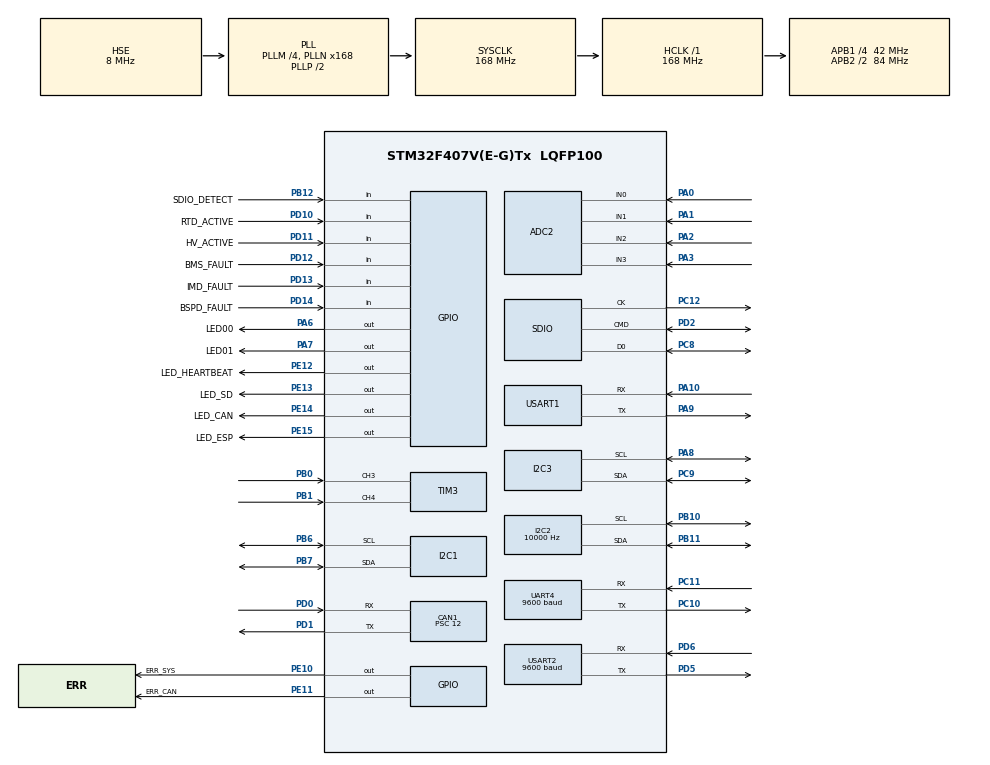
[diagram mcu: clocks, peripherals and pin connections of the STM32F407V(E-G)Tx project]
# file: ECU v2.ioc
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ADC1.Channel-0\#ChannelRegularConversion=ADC_CHANNEL_TEMPSENSOR
ADC1.ContinuousConvMode=DISABLE
ADC1.InjNumberOfConversion=0
ADC1.NbrOfConversionFlag=1
ADC1.Rank-0\#ChannelRegularConversion=1
ADC1.SamplingTime-0\#ChannelRegularConversion=ADC_SAMPLETIME_28CYCLES
ADC1.master=1
ADC2.Channel-10\#ChannelRegularConversion=ADC_CHANNEL_1
ADC2.Channel-11\#ChannelRegularConversion=ADC_CHANNEL_2
ADC2.Channel-12\#ChannelRegularConversion=ADC_CHANNEL_3
ADC2.Channel-9\#ChannelRegularConversion=ADC_CHANNEL_0
ADC2.DiscontinuousConvMode=ENABLE
ADC2.NbrOfConversion=4
ADC2.NbrOfConversionFlag=1
ADC2.Rank-10\#ChannelRegularConversion=2
ADC2.Rank-11\#ChannelRegularConversion=3
ADC2.Rank-12\#ChannelRegularConversion=4
ADC2.Rank-9\#ChannelRegularConversion=1
ADC2.SamplingTime-10\#ChannelRegularConversion=ADC_SAMPLETIME_15CYCLES
ADC2.SamplingTime-11\#ChannelRegularConversion=ADC_SAMPLETIME_15CYCLES
ADC2.SamplingTime-12\#ChannelRegularConversion=ADC_SAMPLETIME_15CYCLES
ADC2.SamplingTime-9\#ChannelRegularConversion=ADC_SAMPLETIME_15CYCLES
ADC2.ScanConvMode=ENABLE
CAN1.ABOM=DISABLE
CAN1.AWUM=ENABLE
CAN1.BS1=CAN_BS1_11TQ
CAN1.BS2=CAN_BS2_2TQ
CAN1.CalculateBaudRate=250000
CAN1.CalculateTimeBit=4000
CAN1.CalculateTimeQuantum=285.7142857142857
CAN1.Mode=CAN_MODE_NORMAL
CAN1.Prescaler=12
CAN1.TTCM=DISABLE
Dma.Request0=SDIO_RX
Dma.Request1=SDIO_TX
Dma.Request2=USART2_RX
Dma.Request3=TIM3_CH3
Dma.Request4=TIM3_CH4/UP
Dma.SDIO_RX.0.Direction=DMA_PERIPH_TO_MEMORY
Dma.SDIO_RX.0.FIFOMode=DMA_FIFOMODE_ENABLE
Dma.SDIO_RX.0.FIFOThreshold=DMA_FIFO_THRESHOLD_FULL
Dma.SDIO_RX.0.Instance=DMA2_Stream3
Dma.SDIO_RX.0.MemBurst=DMA_MBURST_INC4
Dma.SDIO_RX.0.MemDataAlignment=DMA_MDATAALIGN_WORD
Dma.SDIO_RX.0.MemInc=DMA_MINC_ENABLE
Dma.SDIO_RX.0.Mode=DMA_PFCTRL
Dma.SDIO_RX.0.PeriphBurst=DMA_PBURST_INC4
Dma.SDIO_RX.0.PeriphDataAlignment=DMA_PDATAALIGN_WORD
Dma.SDIO_RX.0.PeriphInc=DMA_PINC_DISABLE
Dma.SDIO_RX.0.Priority=DMA_PRIORITY_LOW
Dma.SDIO_TX.1.Direction=DMA_MEMORY_TO_PERIPH
Dma.SDIO_TX.1.FIFOMode=DMA_FIFOMODE_ENABLE
Dma.SDIO_TX.1.FIFOThreshold=DMA_FIFO_THRESHOLD_FULL
Dma.SDIO_TX.1.Instance=DMA2_Stream6
Dma.SDIO_TX.1.MemBurst=DMA_MBURST_INC4
Dma.SDIO_TX.1.MemDataAlignment=DMA_MDATAALIGN_WORD
Dma.SDIO_TX.1.MemInc=DMA_MINC_ENABLE
Dma.SDIO_TX.1.Mode=DMA_PFCTRL
Dma.SDIO_TX.1.PeriphBurst=DMA_PBURST_INC4
Dma.SDIO_TX.1.PeriphDataAlignment=DMA_PDATAALIGN_WORD
Dma.SDIO_TX.1.PeriphInc=DMA_PINC_DISABLE
Dma.SDIO_TX.1.Priority=DMA_PRIORITY_LOW
Dma.TIM3_CH3.3.Direction=DMA_PERIPH_TO_MEMORY
Dma.TIM3_CH3.3.FIFOMode=DMA_FIFOMODE_DISABLE
Dma.TIM3_CH3.3.Instance=DMA1_Stream7
Dma.TIM3_CH3.3.MemDataAlignment=DMA_MDATAALIGN_HALFWORD
Dma.TIM3_CH3.3.MemInc=DMA_MINC_ENABLE
Dma.TIM3_CH3.3.Mode=DMA_NORMAL
Dma.TIM3_CH3.3.PeriphDataAlignment=DMA_PDATAALIGN_HALFWORD
Dma.TIM3_CH3.3.PeriphInc=DMA_PINC_DISABLE
Dma.TIM3_CH3.3.Priority=DMA_PRIORITY_LOW
Dma.TIM3_CH4/UP.4.Direction=DMA_PERIPH_TO_MEMORY
Dma.TIM3_CH4/UP.4.FIFOMode=DMA_FIFOMODE_DISABLE
Dma.TIM3_CH4/UP.4.Instance=DMA1_Stream2
Dma.TIM3_CH4/UP.4.MemDataAlignment=DMA_MDATAALIGN_HALFWORD
Dma.TIM3_CH4/UP.4.MemInc=DMA_MINC_ENABLE
Dma.TIM3_CH4/UP.4.Mode=DMA_NORMAL
Dma.TIM3_CH4/UP.4.PeriphDataAlignment=DMA_PDATAALIGN_HALFWORD
Dma.TIM3_CH4/UP.4.PeriphInc=DMA_PINC_DISABLE
Dma.TIM3_CH4/UP.4.Priority=DMA_PRIORITY_LOW
Dma.USART2_RX.2.Direction=DMA_PERIPH_TO_MEMORY
Dma.USART2_RX.2.FIFOMode=DMA_FIFOMODE_DISABLE
Dma.USART2_RX.2.Instance=DMA1_Stream5
Dma.USART2_RX.2.MemDataAlignment=DMA_MDATAALIGN_BYTE
Dma.USART2_RX.2.MemInc=DMA_MINC_ENABLE
Dma.USART2_RX.2.Mode=DMA_NORMAL
Dma.USART2_RX.2.PeriphDataAlignment=DMA_PDATAALIGN_BYTE
Dma.USART2_RX.2.PeriphInc=DMA_PINC_DISABLE
Dma.USART2_RX.2.Priority=DMA_PRIORITY_LOW
FATFS.BSP.number=1
FATFS.USE_DMA_CODE_SD=1
FATFS._CODE_PAGE=850
FATFS._MAX_SS=4096
FATFS._USE_LFN=1
FATFS0.BSP.STBoard=false
FATFS0.BSP.api=Unknown
FATFS0.BSP.instance=PB12
FATFS0.BSP.ip=GPIO
FATFS0.BSP.mode=Input
FATFS0.BSP.name=Detect_SDIO
FATFS0.BSP.solution=PB12
I2C1.I2C_Mode=I2C_Fast
I2C2.ClockSpeed=10000
I2C2.I2C_Mode=I2C_Standard
I2C3.I2C_Mode=I2C_Fast
Mcu.Family=STM32F4
Mcu.Name=STM32F407V(E-G)Tx
Mcu.Package=LQFP100
NVIC.ADC_IRQn=true\:0\:0\:false\:false\:true\:true\:true\:true
NVIC.CAN1_RX0_IRQn=true\:0\:0\:false\:false\:true\:true\:true\:true
NVIC.CAN1_RX1_IRQn=true\:0\:0\:false\:false\:true\:true\:true\:true
NVIC.CAN1_SCE_IRQn=true\:0\:0\:false\:false\:true\:true\:true\:true
NVIC.CAN1_TX_IRQn=true\:0\:0\:false\:false\:true\:true\:true\:true
NVIC.DMA1_Stream2_IRQn=true\:0\:0\:false\:false\:true\:false\:true\:true
NVIC.DMA1_Stream5_IRQn=true\:0\:0\:false\:false\:true\:false\:true\:true
NVIC.DMA1_Stream7_IRQn=true\:0\:0\:false\:false\:true\:false\:true\:true
NVIC.DMA2_Stream3_IRQn=true\:0\:0\:false\:false\:true\:false\:true\:true
NVIC.DMA2_Stream6_IRQn=true\:0\:0\:false\:false\:true\:false\:true\:true
NVIC.I2C1_EV_IRQn=true\:0\:0\:false\:false\:true\:true\:true\:true
NVIC.I2C2_EV_IRQn=true\:0\:0\:false\:false\:true\:true\:true\:true
NVIC.I2C3_EV_IRQn=true\:0\:0\:false\:false\:true\:true\:true\:true
NVIC.PriorityGroup=NVIC_PRIORITYGROUP_4
NVIC.SDIO_IRQn=true\:0\:0\:false\:false\:true\:true\:true\:true
NVIC.TIM1_UP_TIM10_IRQn=true\:0\:0\:false\:false\:true\:true\:true\:true
NVIC.TIM3_IRQn=true\:0\:0\:false\:false\:true\:true\:true\:true
NVIC.UART4_IRQn=true\:0\:0\:false\:false\:true\:true\:true\:true
NVIC.USART1_IRQn=true\:0\:0\:false\:false\:true\:true\:true\:true
NVIC.USART2_IRQn=true\:0\:0\:false\:false\:true\:true\:true\:true
PA0-WKUP.Signal=ADCx_IN0
PA1.Signal=ADCx_IN1
PA10.Mode=Asynchronous
PA10.Signal=USART1_RX
PA2.Signal=ADCx_IN2
PA3.Signal=ADCx_IN3
PA6.GPIO_Label=LED00
PA6.GPIO_PuPd=GPIO_NOPULL
PA6.Signal=GPIO_Output
PA7.GPIO_Label=LED01
PA7.GPIO_PuPd=GPIO_NOPULL
PA7.Signal=GPIO_Output
PA8.GPIO_Pu=GPIO_PULLUP
PA8.Mode=I2C
PA8.Signal=I2C3_SCL
PA9.Mode=Asynchronous
PA9.Signal=USART1_TX
PB0.Signal=S_TIM3_CH3
PB1.Signal=S_TIM3_CH4
PB10.Mode=I2C
PB10.Signal=I2C2_SCL
PB11.Mode=I2C
PB11.Signal=I2C2_SDA
PB12.GPIO_Label=SDIO_DETECT
PB12.GPIO_PuPd=GPIO_PULLDOWN
PB12.Signal=GPIO_Input
PB6.GPIO_Pu=GPIO_PULLUP
PB6.Mode=I2C
PB6.Signal=I2C1_SCL
PB7.GPIO_Pu=GPIO_PULLUP
PB7.Mode=I2C
PB7.Signal=I2C1_SDA
PC10.Mode=Asynchronous
PC10.Signal=UART4_TX
PC11.Mode=Asynchronous
PC11.Signal=UART4_RX
PC12.Mode=SD_1_bit
PC12.Signal=SDIO_CK
PC14-OSC32_IN.Mode=LSE-External-Oscillator
PC14-OSC32_IN.Signal=RCC_OSC32_IN
PC15-OSC32_OUT.Mode=LSE-External-Oscillator
PC15-OSC32_OUT.Signal=RCC_OSC32_OUT
PC8.GPIO_PuPd=GPIO_PULLUP
PC8.Mode=SD_1_bit
PC8.Signal=SDIO_D0
PC9.GPIO_Pu=GPIO_PULLUP
PC9.Mode=I2C
PC9.Signal=I2C3_SDA
PD0.Mode=CAN_Activate
PD0.Signal=CAN1_RX
PD1.Mode=CAN_Activate
PD1.Signal=CAN1_TX
PD10.GPIO_Label=RTD_ACTIVE
PD10.GPIO_PuPd=GPIO_PULLDOWN
PD10.Signal=GPIO_Input
PD11.GPIO_Label=HV_ACTIVE
PD11.GPIO_PuPd=GPIO_PULLDOWN
PD11.Signal=GPIO_Input
PD12.GPIO_Label=BMS_FAULT
PD12.GPIO_PuPd=GPIO_PULLDOWN
PD12.Signal=GPIO_Input
PD13.GPIO_Label=IMD_FAULT
PD13.GPIO_PuPd=GPIO_PULLDOWN
PD13.Signal=GPIO_Input
PD14.GPIO_Label=BSPD_FAULT
PD14.GPIO_PuPd=GPIO_PULLDOWN
PD14.Signal=GPIO_Input
PD2.GPIO_PuPd=GPIO_PULLUP
PD2.Mode=SD_1_bit
PD2.Signal=SDIO_CMD
PD5.Mode=Asynchronous
PD5.Signal=USART2_TX
PD6.Mode=Asynchronous
PD6.Signal=USART2_RX
PE10.GPIO_Label=ERR_SYS
PE10.Signal=GPIO_Output
PE11.GPIO_Label=ERR_CAN
PE11.Signal=GPIO_Output
PE12.GPIO_Label=LED_HEARTBEAT
PE12.Signal=GPIO_Output
PE13.GPIO_Label=LED_SD
PE13.Signal=GPIO_Output
PE14.GPIO_Label=LED_CAN
PE14.Signal=GPIO_Output
PE15.GPIO_Label=LED_ESP
PE15.Signal=GPIO_Output
PH0-OSC_IN.Mode=HSE-External-Oscillator
PH0-OSC_IN.Signal=RCC_OSC_IN
PH1-OSC_OUT.Mode=HSE-External-Oscillator
PH1-OSC_OUT.Signal=RCC_OSC_OUT
ProjectManager.HeapSize=0x200
ProjectManager.StackSize=0x400
ProjectManager.TargetToolchain=STM32CubeIDE
RCC.48MHZClocksFreq_Value=48000000
RCC.AHBFreq_Value=168000000
RCC.APB1CLKDivider=RCC_HCLK_DIV4
RCC.APB1Freq_Value=42000000
RCC.APB1TimFreq_Value=84000000
RCC.APB2CLKDivider=RCC_HCLK_DIV2
RCC.APB2Freq_Value=84000000
RCC.APB2TimFreq_Value=168000000
RCC.CortexFreq_Value=168000000
RCC.EnbaleCSS=true
RCC.HCLKFreq_Value=168000000
RCC.HSE_VALUE=8000000
RCC.HSI_VALUE=16000000
RCC.PLLM=4
RCC.PLLN=168
RCC.PLLQ=7
RCC.PLLSourceVirtual=RCC_PLLSOURCE_HSE
RCC.RCC_RTC_Clock_Source=RCC_RTCCLKSOURCE_LSE
RCC.RCC_RTC_Clock_SourceVirtual=RCC_RTCCLKSOURCE_LSE
RCC.SYSCLKFreq_VALUE=168000000
RCC.SYSCLKSource=RCC_SYSCLKSOURCE_PLLCLK
RCC.VCOOutputFreq_Value=336000000
RTC.Date=1
RTC.Hours=0
RTC.Minutes=0
RTC.Month=RTC_MONTH_JANUARY
RTC.Seconds=0
RTC.WeekDay=RTC_WEEKDAY_SUNDAY
RTC.Year=23
SDIO.ClockDiv=12
SDIO.HardwareFlowControl=SDIO_HARDWARE_FLOW_CONTROL_ENABLE
SH.ADCx_IN0.0=ADC2_IN0,IN0
SH.ADCx_IN1.0=ADC2_IN1,IN1
SH.ADCx_IN2.0=ADC2_IN2,IN2
SH.ADCx_IN3.0=ADC2_IN3,IN3
SH.S_TIM3_CH3.0=TIM3_CH3,Input_Capture3_from_TI3
SH.S_TIM3_CH4.0=TIM3_CH4,Input_Capture4_from_TI4
TIM1.Period=20000 - 1
TIM1.Prescaler=840 - 1
TIM3.Channel-Input_Capture3_from_TI3=TIM_CHANNEL_3
TIM3.Channel-Input_Capture4_from_TI4=TIM_CHANNEL_4
UART4.BaudRate=9600
UART4.VirtualMode=Asynchronous
USART1.VirtualMode=VM_ASYNC
USART2.BaudRate=9600
USART2.VirtualMode=VM_ASYNC
VP_ADC1_TempSens_Input.Mode=IN-TempSens
VP_FATFS_VS_SDIO.Mode=SDIO
VP_RTC_VS_RTC_Activate.Mode=RTC_Enabled
VP_RTC_VS_RTC_Calendar.Mode=RTC_Calendar
VP_TIM1_VS_ClockSourceINT.Mode=Internal
VP_TIM3_VS_ClockSourceINT.Mode=Internal
board=custom

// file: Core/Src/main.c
/* USER CODE BEGIN Header */
/**
  ******************************************************************************
  * @file           : main.c
  * @brief          : Main program body
  ******************************************************************************
  * @attention
  *
  * E-Formula 2023 ECU Firmware. A-FA, Ajou University, Korea.
  *
  * Oh ByungJun (mail@luftaquila.io)
  * A-FA E-Formula Electric System Part Leader & Team Project Manager
  *
  ******************************************************************************
  */
/* USER CODE END Header */
#include "main.h"
#include "adc.h"
#include "can.h"
#include "dma.h"
#include "fatfs.h"
#include "i2c.h"
#include "rtc.h"
#include "sdio.h"
#include "tim.h"
#include "usart.h"
#include "gpio.h"

/* USER CODE BEGIN Includes */
#include "logger.h"
#include "string.h"
#include "stdlib.h"
/* USER CODE END Includes */

/* USER CODE BEGIN PD */
extern int32_t SYS_LOG(LOG_LEVEL level, LOG_SOURCE source, int32_t key);

extern inline uint32_t to_uint(uint8_t *str, char garbage);
extern inline uint32_t drop_point(uint8_t *str);
/* USER CODE END PD */

/* USER CODE BEGIN PV */
ERROR_CODE err;

// log data
FIL logfile;
LOG syslog;

// SD write buffer
ring_buffer_t LOG_BUFFER;
uint8_t LOG_BUFFER_ARR[1 << 12]; // 4KB

// system state log
SYSTEM_STATE sys_state;

// timer set flag
uint32_t timer_flag = 0;

// adc conversion flag and data
uint32_t adc_flag = 0;
uint16_t adc_value[ADC_COUNT] = { 0, };

// timer input capture flag and data
uint32_t ic_flag = 0;
int32_t ic_value[IC_CH_COUNT] = { 0, }; // microsecond
int32_t ic_buffer_0[IC_CH_COUNT] = { 0, };
int32_t ic_buffer_1[IC_CH_COUNT] = { 0, };

// accelerometer data
uint8_t acc_value[6];

// I2C transmission flag and buffer
uint32_t i2c_flag = 0;
ring_buffer_t ESP_BUFFER;
ring_buffer_t LCD_BUFFER;

// CAN RX header and data
CAN_RxHeaderTypeDef can_rx_header;
uint8_t can_rx_data[8];

// LCD update data
DISPLAY_DATA display_data;

// GPS receive flag and buffer
uint32_t gps_flag = 0;
uint8_t gps_data[1 << 7]; // 128B

/* USER CODE END PV */

void SystemClock_Config(void);
/* USER CODE BEGIN PFP */
int32_t ECU_SETUP(void);
/* USER CODE END PFP */

/* USER CODE BEGIN 0 */
int _write(int file, uint8_t *ptr, int len) {
  HAL_UART_Transmit(&huart1, (uint8_t *)ptr, (uint16_t)len, 50);
  return (len);
}
/* USER CODE END 0 */

int main(void)
{

  /* MCU Configuration--------------------------------------------------------*/

  /* Reset of all peripherals, Initializes the Flash interface and the Systick. */
  HAL_Init();

  /* Configure the system clock */
  SystemClock_Config();

  /* Initialize all configured peripherals */
  MX_GPIO_Init();
  MX_DMA_Init();
  MX_USART1_UART_Init();
  MX_I2C2_Init();
  MX_SDIO_SD_Init();
  MX_RTC_Init();
  MX_FATFS_Init();
  MX_ADC1_Init();
  MX_I2C1_Init();
  MX_CAN1_Init();
  MX_ADC2_Init();
  MX_USART2_UART_Init();
  MX_TIM1_Init();
  MX_I2C3_Init();
  MX_UART4_Init();
  MX_TIM3_Init();
  /* USER CODE BEGIN 2 */

  // check boot time
  int32_t ret;
  DATETIME boot;
  RTC_READ(&boot);

  #ifdef DEBUG_MODE
    printf("[%8lu] [INF] ECU STARTUP\r\n", HAL_GetTick());
  #endif

  // init ECU gpio and system state
  ret = ECU_SETUP();
  if (ret != 0) {
    #ifdef DEBUG_MODE
      printf("[%8lu] [ERR] ECU setup failed: %ld\r\n", HAL_GetTick(), ret);
    #endif
  } else {
    // core system boot complete
    syslog.value[0] = true;
    SYS_LOG(LOG_INFO, ECU, ECU_BOOT);
    #ifdef DEBUG_MODE
      printf("[%8lu] [ OK] ECU setup done\r\n", HAL_GetTick());
    #endif
  }

  // init SD card
  ret = SD_SETUP(&boot);
  if (ret != 0) {
    syslog.value[0] = false;
    SYS_LOG(LOG_ERROR, ECU, SD_INIT);
    #ifdef DEBUG_MODE
      printf("[%8lu] [ERR] SD setup failed: %ld\r\n", HAL_GetTick(), ret);
    #endif
  } else {
    syslog.value[0] = true;
    SYS_LOG(LOG_INFO, ECU, SD_INIT);
    #ifdef DEBUG_MODE
      printf("[%8lu] [ OK] SD setup done\r\n", HAL_GetTick());
    #endif
  }

  // init ESP32 i2c for remote telemetry
  ret = ESP_SETUP();
  if (ret != 0) {
    syslog.value[0] = false;
    SYS_LOG(LOG_ERROR, ESP, ESP_INIT);
    #ifdef DEBUG_MODE
      printf("[%8lu] [ERR] ESP setup failed: %ld\r\n", HAL_GetTick(), ret);
    #endif
  } else {
    syslog.value[0] = true;
    SYS_LOG(LOG_INFO, ESP, ESP_INIT);
    #ifdef DEBUG_MODE
      printf("[%8lu] [ OK] ESP setup done\r\n", HAL_GetTick());
    #endif
  }

  // init internal ADCs for sensors
  ret = ANALOG_SETUP();
  if (ret != 0) {
    syslog.value[0] = false;
    SYS_LOG(LOG_ERROR, ANALOG, ADC_INIT);
    HAL_GPIO_WritePin(GPIOE, ERR_SYS_Pin, GPIO_PIN_SET);
    #ifdef DEBUG_MODE
      printf("[%8lu] [ERR] ADC setup failed: %ld\r\n", HAL_GetTick(), ret);
    #endif
  } else {
    syslog.value[0] = true;
    SYS_LOG(LOG_INFO, ANALOG, ADC_INIT);
    #ifdef DEBUG_MODE
      printf("[%8lu] [ OK] ADC setup done\r\n", HAL_GetTick());
    #endif
  }

  // init CAN for BMS and inverter
  ret = CAN_SETUP();
  if (ret != 0) {
    syslog.value[0] = false;
    SYS_LOG(LOG_ERROR, CAN, CAN_INIT);
    HAL_GPIO_WritePin(GPIOE, ERR_CAN_Pin, GPIO_PIN_SET);
    #ifdef DEBUG_MODE
      printf("[%8lu] [ERR] CAN setup failed: %ld\r\n", HAL_GetTick(), ret);
    #endif
  } else {
    syslog.value[0] = true;
    SYS_LOG(LOG_INFO, CAN, CAN_INIT);
    #ifdef DEBUG_MODE
      printf("[%8lu] [ OK] CAN setup done\r\n", HAL_GetTick());
    #endif
  }

  // init 1602 LCD i2c
  ret = LCD_SETUP();
  if (ret != 0) {
    syslog.value[0] = false;
    SYS_LOG(LOG_ERROR, LCD, LCD_INIT);
    HAL_GPIO_WritePin(GPIOE, ERR_SYS_Pin, GPIO_PIN_SET);
    #ifdef DEBUG_MODE
      printf("[%8lu] [ERR] LCD setup failed: %ld\r\n", HAL_GetTick(), ret);
    #endif
  } else {
    syslog.value[0] = true;
    SYS_LOG(LOG_INFO, LCD, LCD_INIT);
    #ifdef DEBUG_MODE
      printf("[%8lu] [ OK] LCD setup done\r\n", HAL_GetTick());
    #endif
  }

  // init ADXL345 3-axis accelerometer i2c
  ret = ACC_SETUP();
  if (ret != 0) {
    syslog.value[0] = false;
    SYS_LOG(LOG_ERROR, ACC, ACC_INIT);
    HAL_GPIO_WritePin(GPIOE, ERR_SYS_Pin, GPIO_PIN_SET);
    #ifdef DEBUG_MODE
      printf("[%8lu] [ERR] ACC setup failed: %ld\r\n", HAL_GetTick(), ret);
    #endif
  } else {
    syslog.value[0] = true;
    SYS_LOG(LOG_INFO, ACC, ACC_INIT);
    #ifdef DEBUG_MODE
      printf("[%8lu] [ OK] ACC setup done\r\n", HAL_GetTick());
    #endif
  }

  // init NEO-7M GPS UART
  ret = GPS_SETUP();
  if (ret != 0) {
    syslog.value[0] = false;
    SYS_LOG(LOG_ERROR, GPS, GPS_INIT);
    HAL_GPIO_WritePin(GPIOE, ERR_SYS_Pin, GPIO_PIN_SET);
    #ifdef DEBUG_MODE
      printf("[%8lu] [ERR] GPS setup failed: %ld\r\n", HAL_GetTick(), ret);
    #endif
  } else {
    syslog.value[0] = true;
    SYS_LOG(LOG_INFO, GPS, GPS_INIT);
    #ifdef DEBUG_MODE
      printf("[%8lu] [ OK] GPS setup done\r\n", HAL_GetTick());
    #endif
  }

  // start hardware timers
  HAL_TIM_Base_Start_IT(&htim1);

  // system setup sequence complete
  syslog.value[0] = true;
  SYS_LOG(LOG_INFO, ECU, ECU_READY);
  #ifdef DEBUG_MODE
    printf("[%8lu] [INF] ECU READY\r\n", HAL_GetTick());
  #endif

  /* USER CODE END 2 */

  /* Infinite loop */
  /* USER CODE BEGIN WHILE */

  while (1) {

    // CPU temmperature ADC conversion done
    if ((adc_flag & (1 << ADC_CPU)) != 0) {
      adc_flag &= ~(1 << ADC_CPU); // clear ADC_CPU flag

      *(uint16_t *)syslog.value = adc_value[ADC_TEMP];
      SYS_LOG(LOG_INFO, ANALOG, ADC_CPU);
    }

    // linear distance sensor ADC conversions done
    if ((adc_flag & (1 << ADC_DIST)) != 0) {
      adc_flag &= ~(1 << ADC_DIST); // clear ADC_DIST flag

      *(uint16_t *)(syslog.value + 0) = adc_value[ADC_DIST_FL];
      *(uint16_t *)(syslog.value + 2) = adc_value[ADC_DIST_RL];
      *(uint16_t *)(syslog.value + 4) = adc_value[ADC_DIST_FR];
      *(uint16_t *)(syslog.value + 6) = adc_value[ADC_DIST_RR];
      SYS_LOG(LOG_INFO, ANALOG, ADC_DIST);
    }

    // all timer input capture DMA transfers are done
    if (ic_flag == ( (1 << IC_WHEEL_FL) | (1 << IC_WHEEL_RL) | (1 << IC_WHEEL_FR) | (1 << IC_WHEEL_RR) )) {
      *(uint16_t *)(syslog.value + 0) = (uint16_t)(ic_value[IC_WHEEL_FL] / 10); // x10 us
      *(uint16_t *)(syslog.value + 2) = (uint16_t)(ic_value[IC_WHEEL_RL] / 10);
      *(uint16_t *)(syslog.value + 4) = (uint16_t)(ic_value[IC_WHEEL_FR] / 10);
      *(uint16_t *)(syslog.value + 6) = (uint16_t)(ic_value[IC_WHEEL_RR] / 10);
      SYS_LOG(LOG_INFO, TIMER, TIMER_IC);

      ic_flag = IC_READY; // mark ready to start next DMA transfer
    }

    /* check I2C Tx buffer; start transmit if buffer is not empty and not transmitting */
    if (i2c_flag & (1 << I2C_BUFFER_ESP_REMAIN) && !(i2c_flag & (1 << I2C_BUFFER_ESP_TRANSMIT))) {
      i2c_flag |= 1 << I2C_BUFFER_ESP_TRANSMIT;

      static uint8_t payload[sizeof(LOG)];
      ring_buffer_dequeue_arr(&ESP_BUFFER, (char *)payload, sizeof(LOG));
      HAL_I2C_Master_Transmit_IT(&hi2c1, ESP_I2C_ADDR, payload, sizeof(LOG));
    }

    if (i2c_flag & (1 << I2C_BUFFER_LCD_REMAIN) && !(i2c_flag & (1 << I2C_BUFFER_LCD_TRANSMIT))) {
      i2c_flag |= 1 << I2C_BUFFER_LCD_TRANSMIT;

      static uint8_t payload[4];
      ring_buffer_dequeue_arr(&LCD_BUFFER, (char *)payload, 4);
      HAL_I2C_Master_Transmit_IT(&hi2c2, LCD_I2C_ADDR, payload, 4);
    }

    // check log buffer and write to SD
    if (!ring_buffer_is_empty(&LOG_BUFFER)) {
      SD_WRITE(ring_buffer_num_items(&LOG_BUFFER));
    }

    // parse GPS NMEA GPRMC data
    if (gps_flag) {
      gps_flag = 0; // clear GPS flag

      static NMEA_GPRMC gprmc;
      static GPS_COORD gps_coord;
      static GPS_VECTOR gps_vector;
      static GPS_DATETIME gps_datetime;

      if (!strncmp((char *)gps_data, "$GPRMC", 6)) {

        // parse NMEA GPRMC sentence
        gprmc.id = gps_data;
        gprmc.utc_time = FIND_AND_NUL(gprmc.id, gprmc.utc_time, ',');
        gprmc.status = FIND_AND_NUL(gprmc.utc_time, gprmc.status, ',');

        // proceed only if GPS fix is valid
        if (*gprmc.status == 'A') {
          gprmc.lat = FIND_AND_NUL(gprmc.status, gprmc.lat, ',');
          gprmc.north = FIND_AND_NUL(gprmc.lat, gprmc.north, ',');
          gprmc.lon = FIND_AND_NUL(gprmc.north, gprmc.lon, ',');
          gprmc.east = FIND_AND_NUL(gprmc.lon, gprmc.east, ',');
          gprmc.speed = FIND_AND_NUL(gprmc.east, gprmc.speed, ',');
          gprmc.course = FIND_AND_NUL(gprmc.speed, gprmc.course, ',');
          gprmc.utc_date = FIND_AND_NUL(gprmc.course, gprmc.utc_date, ',');
          gprmc.others = FIND_AND_NUL(gprmc.utc_date, gprmc.others, ',');

          // process GPS coordinates
          gps_coord.lat = to_uint(gprmc.lat, '.');
          gps_coord.lon = to_uint(gprmc.lon, '.');

          // process GPS speed and course
          gps_vector.speed = (int)(atof((char *)gprmc.speed) * 100);
          gps_vector.course = drop_point(gprmc.course);

          // process GPS datetime
          gps_datetime.utc_date = atoi((char *)gprmc.utc_date);
          gps_datetime.utc_time = drop_point(gprmc.utc_time);

          *(uint64_t *)syslog.value = *(uint64_t *)&gps_coord;
          SYS_LOG(LOG_INFO, GPS, GPS_POS);

          *(uint64_t *)syslog.value = *(uint64_t *)&gps_vector;
          SYS_LOG(LOG_INFO, GPS, GPS_VEC);

          *(uint64_t *)syslog.value = *(uint64_t *)&gps_datetime;
          SYS_LOG(LOG_INFO, GPS, GPS_TIME);

          sys_state.GPS = true;
        }
        else {
          sys_state.GPS = false;
        }
      }
      else {
        sys_state.GPS = false;
      }
    }

    // 100ms timer set: system state record, distance ADC conversion, accelerometer record
    if (timer_flag & 0x1 << TIMER_100ms) {
      timer_flag &= ~(1 << TIMER_100ms); // clear 100ms timer flag

      // update system state
      sys_state.HV = !HAL_GPIO_ReadPin(GPIOD, HV_ACTIVE_Pin); // inverted in circuit
      sys_state.RTD = !HAL_GPIO_ReadPin(GPIOD, RTD_ACTIVE_Pin); // inverted in circuit
      sys_state.BMS = HAL_GPIO_ReadPin(GPIOD, BMS_FAULT_Pin);
      sys_state.IMD = HAL_GPIO_ReadPin(GPIOD, IMD_FAULT_Pin);
      sys_state.BSPD = HAL_GPIO_ReadPin(GPIOD, BSPD_FAULT_Pin);

      *(SYSTEM_STATE *)syslog.value = sys_state;
      SYS_LOG(LOG_INFO, ECU, ECU_STATE);

      // linear position(distance) sensor ADC conversion
      HAL_ADC_Start_IT(&hadc2);

      // start timer input capture DMA transfer
      if (ic_flag == IC_READY) {
        ic_flag = 0;
        INPUT_CAPTURE();
      }

      // trigger accelerometer read
      /* THIS TAKES 30ms EVERY TIME if the module is NOT CONNECTED */
      HAL_I2C_Mem_Read_IT(&hi2c3, ACC_I2C_ADDR, 0x32, 1, acc_value, 6);

      // trigger RTDS if RTD is enabled
      static uint8_t prev_rtd_state = true; // skip very first condition test
      static uint8_t rtd_packet[8] = { 0x7E, 0xFF, 0x06, 0x12, 0x00, 0x00, 0x01, 0xEF };

      static int32_t rtd_trigger_cnt = 0;
      const int32_t rtd_threshold = 3;

      if ((sys_state.RTD == true) && (prev_rtd_state == false) && (rtd_trigger_cnt == 0)) {
        rtd_trigger_cnt++;
      } else if ((sys_state.RTD == true) && (prev_rtd_state == true) && (rtd_trigger_cnt > 0)) {
        rtd_trigger_cnt++;

        if (rtd_trigger_cnt >= rtd_threshold) {
          HAL_UART_Transmit_IT(&huart4, rtd_packet, 8);
          rtd_trigger_cnt = 0;
        }
      } else {
        rtd_trigger_cnt = 0;
      }

      prev_rtd_state = sys_state.RTD;
    }

    // 400ms timer set: LCD update
    if (timer_flag & 0x1 << TIMER_400ms) {
      timer_flag &= ~(1 << TIMER_400ms); // clear 400ms timer flag

      // update LCD
      if (sys_state.LCD) {
        LCD_UPDATE();
        syslog.value[0] = true;
        SYS_LOG(LOG_INFO, LCD, LCD_UPDATED);
      }
    }

    // 1s timer set: SD card sync, internal temperature sensor, heartbeat LED
    if (timer_flag & 0x1 << TIMER_1s) {
      timer_flag &= ~(1 << TIMER_1s); // clear 1s timer flag

      // SD sync
      ret = SD_SYNC(&logfile);
      #ifdef DEBUG_MODE
        printf("[%8lu] [INF] SD SYNC: %ld\r\n", HAL_GetTick(), ret);
      #endif

      // internal temperature sensor ADC conversion
      HAL_ADC_Start_IT(&hadc1);

      // heartbeat
      static bool heartbeat = true;
      if (heartbeat) {
        HAL_GPIO_WritePin(GPIOE, LED_HEARTBEAT_Pin, GPIO_PIN_SET);
      } else {
        HAL_GPIO_WritePin(GPIOE, LED_HEARTBEAT_Pin, GPIO_PIN_RESET);
      }
      heartbeat = !heartbeat;
    }

    /* USER CODE END WHILE */

  }
}

void SystemClock_Config(void)
{
  RCC_OscInitTypeDef RCC_OscInitStruct = {0};
  RCC_ClkInitTypeDef RCC_ClkInitStruct = {0};

  /** Configure the main internal regulator output voltage
  */
  __HAL_RCC_PWR_CLK_ENABLE();
  __HAL_PWR_VOLTAGESCALING_CONFIG(PWR_REGULATOR_VOLTAGE_SCALE1);

  /** Initializes the RCC Oscillators according to the specified parameters
  * in the RCC_OscInitTypeDef structure.
  */
  RCC_OscInitStruct.OscillatorType = RCC_OSCILLATORTYPE_HSE|RCC_OSCILLATORTYPE_LSE;
  RCC_OscInitStruct.HSEState = RCC_HSE_ON;
  RCC_OscInitStruct.LSEState = RCC_LSE_ON;
  RCC_OscInitStruct.PLL.PLLState = RCC_PLL_ON;
  RCC_OscInitStruct.PLL.PLLSource = RCC_PLLSOURCE_HSE;
  RCC_OscInitStruct.PLL.PLLM = 4;
  RCC_OscInitStruct.PLL.PLLN = 168;
  RCC_OscInitStruct.PLL.PLLP = RCC_PLLP_DIV2;
  RCC_OscInitStruct.PLL.PLLQ = 7;
  if (HAL_RCC_OscConfig(&RCC_OscInitStruct) != HAL_OK)
  {
    Error_Handler();
  }

  /** Initializes the CPU, AHB and APB buses clocks
  */
  RCC_ClkInitStruct.ClockType = RCC_CLOCKTYPE_HCLK|RCC_CLOCKTYPE_SYSCLK
                              |RCC_CLOCKTYPE_PCLK1|RCC_CLOCKTYPE_PCLK2;
  RCC_ClkInitStruct.SYSCLKSource = RCC_SYSCLKSOURCE_PLLCLK;
  RCC_ClkInitStruct.AHBCLKDivider = RCC_SYSCLK_DIV1;
  RCC_ClkInitStruct.APB1CLKDivider = RCC_HCLK_DIV4;
  RCC_ClkInitStruct.APB2CLKDivider = RCC_HCLK_DIV2;

  if (HAL_RCC_ClockConfig(&RCC_ClkInitStruct, FLASH_LATENCY_5) != HAL_OK)
  {
    Error_Handler();
  }

  /** Enables the Clock Security System
  */
  HAL_RCC_EnableCSS();
}

/* USER CODE BEGIN 4 */
int32_t ECU_SETUP(void) {

  // init LEDs
  HAL_GPIO_WritePin(GPIOA, LED00_Pin, GPIO_PIN_RESET);
  HAL_GPIO_WritePin(GPIOA, LED01_Pin, GPIO_PIN_RESET);

  HAL_GPIO_WritePin(GPIOE, ERR_SYS_Pin, GPIO_PIN_RESET);
  HAL_GPIO_WritePin(GPIOE, ERR_CAN_Pin, GPIO_PIN_RESET);
  HAL_GPIO_WritePin(GPIOE, LED_HEARTBEAT_Pin, GPIO_PIN_SET);

  // init system state
  sys_state.SD = false;
  HAL_GPIO_WritePin(GPIOE, LED_SD_Pin, GPIO_PIN_RESET);

  sys_state.CAN = false;
  HAL_GPIO_WritePin(GPIOE, LED_CAN_Pin, GPIO_PIN_RESET);

  sys_state.ESP = false;
  HAL_GPIO_WritePin(GPIOE, LED_ESP_Pin, GPIO_PIN_RESET);

  sys_state.ACC = false;
  sys_state.LCD = false;
  sys_state.GPS = false;

  // init buffer
  ring_buffer_init(&LOG_BUFFER, (char *)LOG_BUFFER_ARR, sizeof(LOG_BUFFER_ARR));

  return 0;
}
/* USER CODE END 4 */

void Error_Handler(void)
{
  /* USER CODE BEGIN Error_Handler_Debug */
  /* User can add his own implementation to report the HAL error return state */
  // __disable_irq();

  printf("[%8lu] [ERR] Error code: %d\n", HAL_GetTick(), err);

  while (1) {
    HAL_GPIO_WritePin(GPIOA, ERR_SYS_Pin, GPIO_PIN_SET);
    HAL_Delay(500);
    HAL_GPIO_WritePin(GPIOA, ERR_SYS_Pin, GPIO_PIN_RESET);
    HAL_Delay(500);
  }
  /* USER CODE END Error_Handler_Debug */
}

#ifdef  USE_FULL_ASSERT
/**
  * @brief  Reports the name of the source file and the source line number
  *         where the assert_param error has occurred.
  * @param  file: pointer to the source file name
  * @param  line: assert_param error line source number
  * @retval None
  */
void assert_failed(uint8_t *file, uint32_t line)
{
  /* USER CODE BEGIN 6 */
  /* User can add his own implementation to report the file name and line number,
     printf("Wrong parameters value: file %s on line %d\r\n", file, line) */
  /* USER CODE END 6 */
}
#endif /* USE_FULL_ASSERT */
